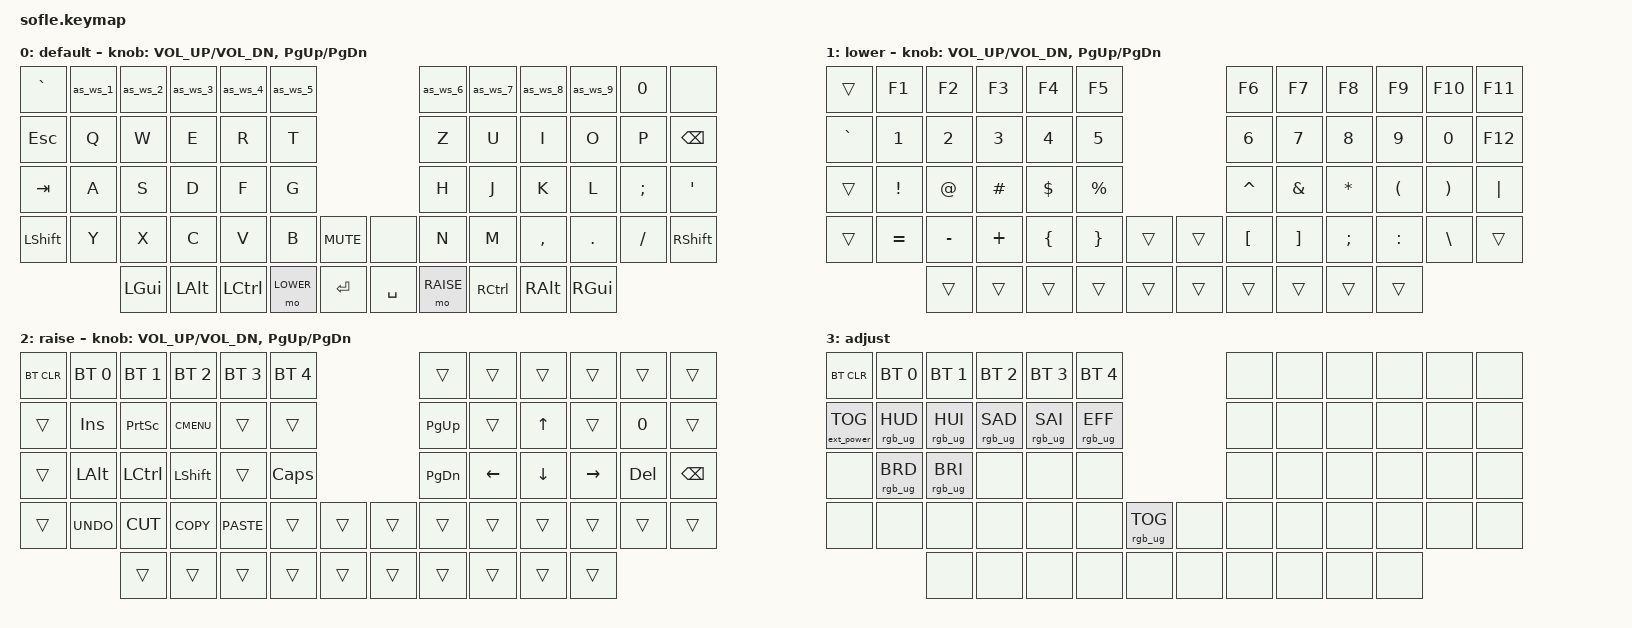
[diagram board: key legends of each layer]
/*
 * Copyright (c) 2020 The ZMK Contributors
 *
 * SPDX-License-Identifier: MIT
 */

#include <behaviors.dtsi>
#include <dt-bindings/zmk/bt.h>
#include <dt-bindings/zmk/ext_power.h>
#include <dt-bindings/zmk/keys.h>
#include <dt-bindings/zmk/rgb.h>

#define BASE 0
#define LOWER 1
#define RAISE 2
#define ADJUST 3

/ {
    // Activate ADJUST layer by pressing raise and lower

    conditional_layers {
        compatible = "zmk,conditional-layers";

        adjust_layer {
            if-layers = <LOWER RAISE>;
            then-layer = <ADJUST>;
        };
    };

    macros {
        as_ws_1: as_ws_1 {
            compatible = "zmk,behavior-macro";
            #binding-cells = <0>;
            bindings = <&kt LG(KP_NUMBER_1)>;
            label = "AS_WS_1";
        };

        as_ws_2: as_ws_2 {
            compatible = "zmk,behavior-macro";
            #binding-cells = <0>;
            bindings = <&kt LG(KP_NUMBER_2)>;
            label = "AS_WS_2";
        };

        as_ws_3: as_ws_3 {
            compatible = "zmk,behavior-macro";
            #binding-cells = <0>;
            bindings = <&kt LG(KP_NUMBER_3)>;
            label = "AS_WS_3";
        };

        as_ws_4: as_ws_4 {
            compatible = "zmk,behavior-macro";
            #binding-cells = <0>;
            bindings = <&kt LG(KP_NUMBER_4)>;
            label = "AS_WS_4";
        };

        as_ws_5: as_ws_5 {
            compatible = "zmk,behavior-macro";
            #binding-cells = <0>;
            bindings = <&kt LG(KP_NUMBER_5)>;
            label = "AS_WS_5";
        };

        as_ws_6: as_ws_6 {
            compatible = "zmk,behavior-macro";
            #binding-cells = <0>;
            bindings = <&kt LG(KP_NUMBER_6)>;
            label = "AS_WS_6";
        };

        as_ws_7: as_ws_7 {
            compatible = "zmk,behavior-macro";
            #binding-cells = <0>;
            bindings = <&kt LG(KP_NUMBER_7)>;
            label = "AS_WS_7";
        };

        as_ws_8: as_ws_8 {
            compatible = "zmk,behavior-macro";
            #binding-cells = <0>;
            bindings = <&kt LG(KP_NUMBER_8)>;
            label = "AS_WS_8";
        };

        as_ws_9: as_ws_9 {
            compatible = "zmk,behavior-macro";
            #binding-cells = <0>;
            bindings = <&kt LG(KP_NUMBER_9)>;
            label = "AS_WS_9";
        };
    };

    keymap {
        compatible = "zmk,keymap";

        default_layer {
            display-name = "default";

            // ------------------------------------------------------------------------------------------------------------
            // |   `   |  1  |  2  |  3   |  4   |  5   |                   |  6   |  7    |  8    |  9   |   0   |       |
            // |  ESC  |  Q  |  W  |  E   |  R   |  T   |                   |  Y   |  U    |  I    |  O   |   P   | BKSPC |
            // |  TAB  |  A  |  S  |  D   |  F   |  G   |                   |  H   |  J    |  K    |  L   |   ;   |   '   |
            // | SHIFT |  Z  |  X  |  C   |  V   |  B   |  MUTE  |  |       |  N   |  M    |  ,    |  .   |   /   | SHIFT |
            //               | GUI | ALT  | CTRL | LOWER|  ENTER |  | SPACE | RAISE| CTRL  | ALT   | GUI  |

            bindings = <
&kp GRAVE  &as_ws_1  &as_ws_2  &as_ws_3  &as_ws_4   &as_ws_5                            &as_ws_6   &as_ws_7   &as_ws_8   &as_ws_9  &kp N0    &none
&kp ESC    &kp Q     &kp W     &kp E     &kp R      &kp T                               &kp Z      &kp U      &kp I      &kp O     &kp P     &kp BSPC
&kp TAB    &kp A     &kp S     &kp D     &kp F      &kp G                               &kp H      &kp J      &kp K      &kp L     &kp SEMI  &kp SQT
&kp LSHFT  &kp Y     &kp X     &kp C     &kp V      &kp B      &kp C_MUTE    &none      &kp N      &kp M      &kp COMMA  &kp DOT   &kp FSLH  &kp RSHFT
                     &kp LGUI  &kp LALT  &kp LCTRL  &mo LOWER  &kp RET       &kp SPACE  &mo RAISE  &kp RCTRL  &kp RALT   &kp RGUI
            >;

            sensor-bindings = <&inc_dec_kp C_VOL_UP C_VOL_DN &inc_dec_kp PG_UP PG_DN>;
        };

        lower_layer {
            display-name = "lower";

            // TODO: Some binds are waiting for shifted keycode support.
            // ------------------------------------------------------------------------------------------------------------
            // |       |  F1 |  F2 |  F3  |  F4  |  F5  |                   |  F6  |  F7   |  F8   |  F9  |  F10  |  F11  |
            // |   `   |  1  |  2  |  3   |  4   |  5   |                   |  6   |  7    |  8    |  9   |   0   |  F12  |
            // |       |  !  |  @  |  #   |  $   |  %   |                   |  ^   |  &    |  *    |  (   |   )   |   |   |
            // |       |  =  |  -  |  +   |  {   |  }   |        |  |       |  [   |  ]    |  ;    |  :   |   \   |       |
            //               |     |      |      |      |        |  |       |      |       |       |      |

            bindings = <
&trans     &kp F1     &kp F2     &kp F3    &kp F4    &kp F5                       &kp F6     &kp F7    &kp F8     &kp F9     &kp F10   &kp F11
&kp GRAVE  &kp N1     &kp N2     &kp N3    &kp N4    &kp N5                       &kp N6     &kp N7    &kp N8     &kp N9     &kp N0    &kp F12
&trans     &kp EXCL   &kp AT     &kp HASH  &kp DLLR  &kp PRCNT                    &kp CARET  &kp AMPS  &kp ASTRK  &kp LPAR   &kp RPAR  &kp PIPE
&trans     &kp EQUAL  &kp MINUS  &kp PLUS  &kp LBRC  &kp RBRC   &trans    &trans  &kp LBKT   &kp RBKT  &kp SEMI   &kp COLON  &kp BSLH  &trans
                      &trans     &trans    &trans    &trans     &trans    &trans  &trans     &trans    &trans     &trans
            >;

            sensor-bindings = <&inc_dec_kp C_VOL_UP C_VOL_DN &inc_dec_kp PG_UP PG_DN>;
        };

        raise_layer {
            display-name = "raise";

            // ------------------------------------------------------------------------------------------------------------
            // | BTCLR | BT1  | BT2  |  BT3  |  BT4  |  BT5 |                |      |      |       |      |       |       |
            // |       | INS  | PSCR | GUI   |       |      |                | PGUP |      |   ^   |      |       |       |
            // |       | ALT  | CTRL | SHIFT |       | CAPS |                | PGDN |   <- |   v   |  ->  |  DEL  | BKSPC |
            // |       | UNDO | CUT  | COPY  | PASTE |      |      |  |      |      |      |       |      |       |       |
            //                |      |       |       |      |      |  |      |      |      |       |      |

            bindings = <
&bt BT_CLR  &bt BT_SEL 0  &bt BT_SEL 1  &bt BT_SEL 2  &bt BT_SEL 3  &bt BT_SEL 4                    &trans     &trans    &trans    &trans     &trans   &trans
&trans      &kp INS       &kp PSCRN     &kp K_CMENU   &trans        &trans                          &kp PG_UP  &trans    &kp UP    &trans     &kp N0   &trans
&trans      &kp LALT      &kp LCTRL     &kp LSHFT     &trans        &kp CLCK                        &kp PG_DN  &kp LEFT  &kp DOWN  &kp RIGHT  &kp DEL  &kp BSPC
&trans      &kp K_UNDO    &kp K_CUT     &kp K_COPY    &kp K_PASTE   &trans        &trans    &trans  &trans     &trans    &trans    &trans     &trans   &trans
                          &trans        &trans        &trans        &trans        &trans    &trans  &trans     &trans    &trans    &trans
            >;

            sensor-bindings = <&inc_dec_kp C_VOL_UP C_VOL_DN &inc_dec_kp PG_UP PG_DN>;
        };

        adjust_layer {
            // ----------------------------------------------------------------------------------------------------------------------------
            // | BTCLR  |  BT1    |  BT2    |   BT3   |   BT4   |   BT5   |                  |      |      |       |      |       |       |
            // | EXTPWR | RGB_HUD | RGB_HUI | RGB_SAD | RGB_SAI | RGB_EFF |                  |      |      |       |      |       |       |
            // |        | RGB_BRD | RGB_BRI |         |         |         |                  |      |      |       |      |       |       |
            // |        |         |         |         |         |         | RGB_TOG | |      |      |      |       |      |       |       |
            //                    |         |         |         |         |         | |      |      |      |       |      |

            display-name = "adjust";
            bindings = <
&bt BT_CLR         &bt BT_SEL 0     &bt BT_SEL 1     &bt BT_SEL 2     &bt BT_SEL 3     &bt BT_SEL 4                               &none  &none  &none  &none  &none  &none
&ext_power EP_TOG  &rgb_ug RGB_HUD  &rgb_ug RGB_HUI  &rgb_ug RGB_SAD  &rgb_ug RGB_SAI  &rgb_ug RGB_EFF                            &none  &none  &none  &none  &none  &none
&none              &rgb_ug RGB_BRD  &rgb_ug RGB_BRI  &none            &none            &none                                      &none  &none  &none  &none  &none  &none
&none              &none            &none            &none            &none            &none            &rgb_ug RGB_TOG    &none  &none  &none  &none  &none  &none  &none
                                    &none            &none            &none            &none            &none              &none  &none  &none  &none  &none
            >;
        };
    };
};
